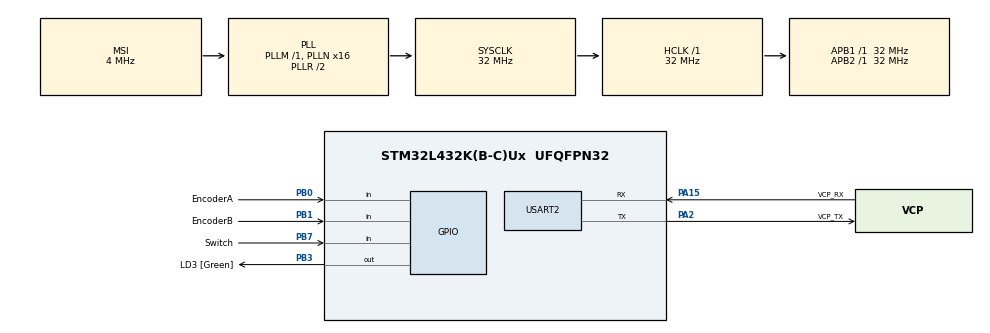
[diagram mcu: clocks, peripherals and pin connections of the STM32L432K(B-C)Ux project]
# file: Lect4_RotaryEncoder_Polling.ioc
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Mcu.Family=STM32L4
Mcu.Name=STM32L432K(B-C)Ux
Mcu.Package=UFQFPN32
NVIC.PriorityGroup=NVIC_PRIORITYGROUP_4
PA0.GPIO_Label=MCO [High speed clock in]
PA0.Mode=HSE-External-Clock-Source-for-LittleOrca
PA0.Signal=RCC_CK_IN
PA13\ (JTMS-SWDIO).GPIO_Label=SWDIO
PA13\ (JTMS-SWDIO).Mode=Serial_Wire
PA13\ (JTMS-SWDIO).Signal=SYS_JTMS-SWDIO
PA14\ (JTCK-SWCLK).GPIO_Label=SWCLK
PA14\ (JTCK-SWCLK).Mode=Serial_Wire
PA14\ (JTCK-SWCLK).Signal=SYS_JTCK-SWCLK
PA15\ (JTDI).GPIO_Label=VCP_RX
PA15\ (JTDI).Mode=Asynchronous
PA15\ (JTDI).Signal=USART2_RX
PA2.GPIO_Label=VCP_TX
PA2.Mode=Asynchronous
PA2.Signal=USART2_TX
PB0.GPIO_Label=EncoderA
PB0.GPIO_PuPd=GPIO_PULLUP
PB0.Signal=GPIO_Input
PB1.GPIO_Label=EncoderB
PB1.GPIO_PuPd=GPIO_PULLUP
PB1.Signal=GPIO_Input
PB3\ (JTDO-TRACESWO).GPIO_Label=LD3 [Green]
PB3\ (JTDO-TRACESWO).Signal=GPIO_Output
PB7.GPIO_Label=Switch
PB7.GPIO_PuPd=GPIO_PULLDOWN
PB7.Signal=GPIO_Input
PC14-OSC32_IN\ (PC14).Mode=LSE-External-Oscillator
PC14-OSC32_IN\ (PC14).Signal=RCC_OSC32_IN
PC15-OSC32_OUT\ (PC15).Mode=LSE-External-Oscillator
PC15-OSC32_OUT\ (PC15).Signal=RCC_OSC32_OUT
ProjectManager.HeapSize=0x200
ProjectManager.StackSize=0x400
ProjectManager.TargetToolchain=STM32CubeIDE
RCC.AHBFreq_Value=32000000
RCC.APB1Freq_Value=32000000
RCC.APB1TimFreq_Value=32000000
RCC.APB2Freq_Value=32000000
RCC.APB2TimFreq_Value=32000000
RCC.CortexFreq_Value=32000000
RCC.HCLKFreq_Value=32000000
RCC.HSE_VALUE=8000000
RCC.HSI16_VALUE=16000000
RCC.HSI48_VALUE=48000000
RCC.HSI_VALUE=16000000
RCC.MSI_VALUE=4000000
RCC.PLLMUL=RCC_PLLMUL_4
RCC.PLLN=16
RCC.SYSCLKFreq_VALUE=32000000
RCC.SYSCLKSource=RCC_SYSCLKSOURCE_PLLCLK
RCC.VCOOutputFreq_Value=64000000
USART2.VirtualMode-Asynchronous=VM_ASYNC
board=NUCLEO-L432KC

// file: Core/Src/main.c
/* USER CODE BEGIN Header */
/**
  ******************************************************************************
  * @file           : main.c
  * @brief          : Main program body
  ******************************************************************************
  * @attention
  *
  * <h2><center>&copy; Copyright (c) 2020 STMicroelectronics.
  * All rights reserved.</center></h2>
  *
  * This software component is licensed by ST under BSD 3-Clause license,
  * the "License"; You may not use this file except in compliance with the
  * License. You may obtain a copy of the License at:
  *                        opensource.org/licenses/BSD-3-Clause
  *
  ******************************************************************************
  */
/* USER CODE END Header */
#include "main.h"

/* USER CODE BEGIN PD */
// Values returned by by processing of states from look-up table
// No complete step yet.
#define DIR_NONE 0x0
// Clockwise step.
#define DIR_CW 0x10
// Anti-clockwise step.
#define DIR_CCW 0x20

// Use the full-step state table (emits a code at 00 only)
#define R_START 0x0
#define R_CW_FINAL 0x1
#define R_CW_BEGIN 0x2
#define R_CW_NEXT 0x3
#define R_CCW_BEGIN 0x4
#define R_CCW_FINAL 0x5
#define R_CCW_NEXT 0x6
/* USER CODE END PD */

UART_HandleTypeDef huart2;

/* USER CODE BEGIN PV */
int32_t counter;

/*********************************************************************
 * State machine look-up table for decoding rotary encoder gray code
 * Based on code written by Ben Buxton:
 *
 * Copyright 2011 Ben Buxton.
 * Licensed under the GNU GPL Version 3.
 * Contact: bb@cactii.net
 * Link:  https://github.com/buxtronix/arduino/tree/master/libraries/Rotary
 *
 *********************************************************************/

const unsigned char ttable[7][4] = {
  // R_START
  {R_START,    R_CW_BEGIN,  R_CCW_BEGIN, R_START},
  // R_CW_FINAL
  {R_CW_NEXT,  R_START,     R_CW_FINAL,  R_START | DIR_CW},
  // R_CW_BEGIN
  {R_CW_NEXT,  R_CW_BEGIN,  R_START,     R_START},
  // R_CW_NEXT
  {R_CW_NEXT,  R_CW_BEGIN,  R_CW_FINAL,  R_START},
  // R_CCW_BEGIN
  {R_CCW_NEXT, R_START,     R_CCW_BEGIN, R_START},
  // R_CCW_FINAL
  {R_CCW_NEXT, R_CCW_FINAL, R_START,     R_START | DIR_CCW},
  // R_CCW_NEXT
  {R_CCW_NEXT, R_CCW_FINAL, R_CCW_BEGIN, R_START},
};

/* USER CODE END PV */

void SystemClock_Config(void);
static void MX_GPIO_Init(void);
static void MX_USART2_UART_Init(void);

/* USER CODE BEGIN 0 */
uint8_t read_rotary_polling(void)
{
	static uint8_t state;
	uint8_t pinstate = GPIOB->IDR&0x03; // Read Port B IDR register to read values of input pins
	state = ttable[state & 0xF][pinstate];
	uint8_t result = state & 0x30;
	return result;
}

/* USER CODE END 0 */

int main(void)
{

  /* MCU Configuration--------------------------------------------------------*/

  /* Reset of all peripherals, Initializes the Flash interface and the Systick. */
  HAL_Init();

  /* Configure the system clock */
  SystemClock_Config();

  /* Initialize all configured peripherals */
  MX_GPIO_Init();
  MX_USART2_UART_Init();

  /* Infinite loop */
  /* USER CODE BEGIN WHILE */
  char buf[80];
  sprintf(buf, "Counter = %d\r\n",counter);
  HAL_UART_Transmit(&huart2, buf,  strlen(buf), 100);
  while (1)
  {
	uint8_t result = read_rotary_polling();

	if(GPIOB->IDR&0x0080)  //Reset Counter
	{
		counter = 0;
		sprintf(buf, "Counter = %d\r\n",counter);
		HAL_UART_Transmit(&huart2, buf,  strlen(buf), 100);
	}

	if(result == DIR_CW) // Decrement counter
	{
		counter--;

		sprintf(buf, "Counter = %d\r\n",counter);
		HAL_UART_Transmit(&huart2, buf,  strlen(buf), 100);
	}
	else if(result == DIR_CCW)  // Increment counter
	{
		counter++;

		sprintf(buf, "Counter = %d\r\n",counter);
		HAL_UART_Transmit(&huart2, buf,  strlen(buf), 100);

	}
    /* USER CODE END WHILE */

  }
}

void SystemClock_Config(void)
{
  RCC_OscInitTypeDef RCC_OscInitStruct = {0};
  RCC_ClkInitTypeDef RCC_ClkInitStruct = {0};
  RCC_PeriphCLKInitTypeDef PeriphClkInit = {0};

  /** Configure LSE Drive Capability
  */
  HAL_PWR_EnableBkUpAccess();
  __HAL_RCC_LSEDRIVE_CONFIG(RCC_LSEDRIVE_LOW);
  /** Initializes the RCC Oscillators according to the specified parameters
  * in the RCC_OscInitTypeDef structure.
  */
  RCC_OscInitStruct.OscillatorType = RCC_OSCILLATORTYPE_LSE|RCC_OSCILLATORTYPE_MSI;
  RCC_OscInitStruct.LSEState = RCC_LSE_ON;
  RCC_OscInitStruct.MSIState = RCC_MSI_ON;
  RCC_OscInitStruct.MSICalibrationValue = 0;
  RCC_OscInitStruct.MSIClockRange = RCC_MSIRANGE_6;
  RCC_OscInitStruct.PLL.PLLState = RCC_PLL_ON;
  RCC_OscInitStruct.PLL.PLLSource = RCC_PLLSOURCE_MSI;
  RCC_OscInitStruct.PLL.PLLM = 1;
  RCC_OscInitStruct.PLL.PLLN = 16;
  RCC_OscInitStruct.PLL.PLLP = RCC_PLLP_DIV7;
  RCC_OscInitStruct.PLL.PLLQ = RCC_PLLQ_DIV2;
  RCC_OscInitStruct.PLL.PLLR = RCC_PLLR_DIV2;
  if (HAL_RCC_OscConfig(&RCC_OscInitStruct) != HAL_OK)
  {
    Error_Handler();
  }
  /** Initializes the CPU, AHB and APB buses clocks
  */
  RCC_ClkInitStruct.ClockType = RCC_CLOCKTYPE_HCLK|RCC_CLOCKTYPE_SYSCLK
                              |RCC_CLOCKTYPE_PCLK1|RCC_CLOCKTYPE_PCLK2;
  RCC_ClkInitStruct.SYSCLKSource = RCC_SYSCLKSOURCE_PLLCLK;
  RCC_ClkInitStruct.AHBCLKDivider = RCC_SYSCLK_DIV1;
  RCC_ClkInitStruct.APB1CLKDivider = RCC_HCLK_DIV1;
  RCC_ClkInitStruct.APB2CLKDivider = RCC_HCLK_DIV1;

  if (HAL_RCC_ClockConfig(&RCC_ClkInitStruct, FLASH_LATENCY_1) != HAL_OK)
  {
    Error_Handler();
  }
  PeriphClkInit.PeriphClockSelection = RCC_PERIPHCLK_USART2;
  PeriphClkInit.Usart2ClockSelection = RCC_USART2CLKSOURCE_PCLK1;
  if (HAL_RCCEx_PeriphCLKConfig(&PeriphClkInit) != HAL_OK)
  {
    Error_Handler();
  }
  /** Configure the main internal regulator output voltage
  */
  if (HAL_PWREx_ControlVoltageScaling(PWR_REGULATOR_VOLTAGE_SCALE1) != HAL_OK)
  {
    Error_Handler();
  }
  /** Enable MSI Auto calibration
  */
  HAL_RCCEx_EnableMSIPLLMode();
}

static void MX_USART2_UART_Init(void)
{

  huart2.Instance = USART2;
  huart2.Init.BaudRate = 115200;
  huart2.Init.WordLength = UART_WORDLENGTH_8B;
  huart2.Init.StopBits = UART_STOPBITS_1;
  huart2.Init.Parity = UART_PARITY_NONE;
  huart2.Init.Mode = UART_MODE_TX_RX;
  huart2.Init.HwFlowCtl = UART_HWCONTROL_NONE;
  huart2.Init.OverSampling = UART_OVERSAMPLING_16;
  huart2.Init.OneBitSampling = UART_ONE_BIT_SAMPLE_DISABLE;
  huart2.AdvancedInit.AdvFeatureInit = UART_ADVFEATURE_NO_INIT;
  if (HAL_UART_Init(&huart2) != HAL_OK)
  {
    Error_Handler();
  }

}

static void MX_GPIO_Init(void)
{
  GPIO_InitTypeDef GPIO_InitStruct = {0};

  /* GPIO Ports Clock Enable */
  __HAL_RCC_GPIOC_CLK_ENABLE();
  __HAL_RCC_GPIOA_CLK_ENABLE();
  __HAL_RCC_GPIOB_CLK_ENABLE();

  /*Configure GPIO pin Output Level */
  HAL_GPIO_WritePin(LD3_GPIO_Port, LD3_Pin, GPIO_PIN_RESET);

  /*Configure GPIO pins : EncoderA_Pin EncoderB_Pin */
  GPIO_InitStruct.Pin = EncoderA_Pin|EncoderB_Pin;
  GPIO_InitStruct.Mode = GPIO_MODE_INPUT;
  GPIO_InitStruct.Pull = GPIO_PULLUP;
  HAL_GPIO_Init(GPIOB, &GPIO_InitStruct);

  /*Configure GPIO pin : LD3_Pin */
  GPIO_InitStruct.Pin = LD3_Pin;
  GPIO_InitStruct.Mode = GPIO_MODE_OUTPUT_PP;
  GPIO_InitStruct.Pull = GPIO_NOPULL;
  GPIO_InitStruct.Speed = GPIO_SPEED_FREQ_LOW;
  HAL_GPIO_Init(LD3_GPIO_Port, &GPIO_InitStruct);

  /*Configure GPIO pin : Switch_Pin */
  GPIO_InitStruct.Pin = Switch_Pin;
  GPIO_InitStruct.Mode = GPIO_MODE_INPUT;
  GPIO_InitStruct.Pull = GPIO_PULLDOWN;
  HAL_GPIO_Init(Switch_GPIO_Port, &GPIO_InitStruct);

}

void Error_Handler(void)
{
}

/************************ (C) COPYRIGHT STMicroelectronics *****END OF FILE****/
